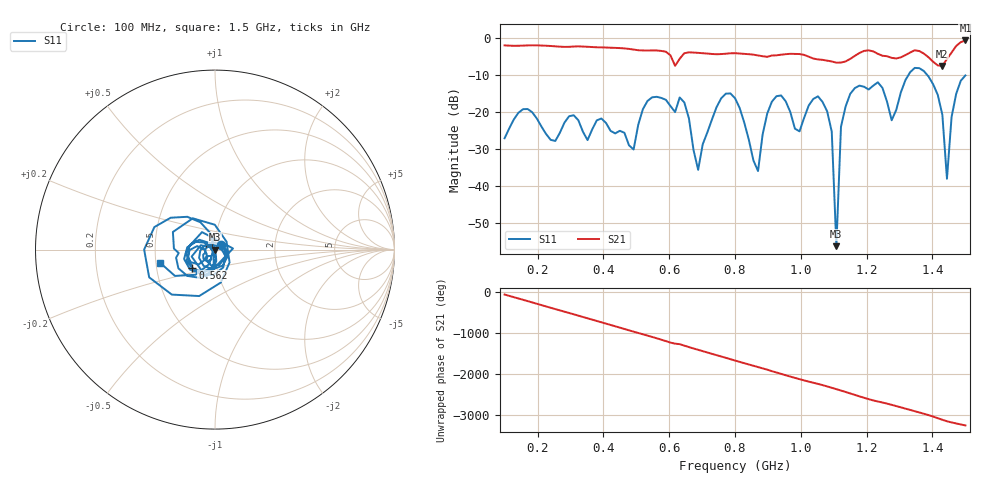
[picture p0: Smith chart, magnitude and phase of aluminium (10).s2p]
! NanoVNA-App
! Date: 2025-09-25 14:55:21
! Start: 100MHz Stop: 1,5GHz Points: 101
! S-Parameter data: F S11 S21 S12 S22
# Hz S RI R 50
!  Frequency  S11_Real  S11_Imag  S21_Real  S21_Imag  S12_Real  S12_Imag  S22_Real  S22_Imag
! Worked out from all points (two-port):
!   101 points, 100 MHz to 1.5 GHz, reference 50 ohm
!   highest |S21| = -0.59 dB at 1.5 GHz (marker M1); lowest = -7.4 dB at 1.43 GHz (marker M2)
!   |S21| within 3 dB of the highest: start of sweep to 587.4 MHz; 1.188 GHz to 1.221 GHz (33.25 MHz wide, 2.76 % of centre) (the widest 2 of 4)
!   lowest |S11| = -56.2 dB at 1.108 GHz (marker M3), VSWR 1.00, Z = 50.2 + j0.022 ohm
!   |S11| at or under -10 dB: start of sweep to 1.326 GHz; 1.385 GHz to end of sweep
!   S12 and S22 are empty: the file has one direction only
!   S11 on the Smith chart (normalised r, x): 100 MHz: 1.07, +0.06; 562 MHz: 0.76, -0.16; 1.5 GHz: 0.53, -0.09
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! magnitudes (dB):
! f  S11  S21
! 100 MHz  -27.0  -1.9
! 338 MHz  -25.3  -2.2
! 492 MHz  -30.0  -3.1
! 562 MHz  -15.8  -3.3
! 576 MHz  -16.1  -3.4
! 646 MHz  -17.3  -4.0
! 688 MHz  -35.6  -3.9
! 800 MHz  -16.2  -4.0
! 870 MHz  -35.9  -4.6
! 912 MHz  -17.1  -4.7
! 996 MHz  -25.2  -4.3
! 1.038 GHz  -16.4  -5.5
! 1.094 GHz  -25.3  -6.3
! 1.108 GHz  -56.2  -6.6
! 1.122 GHz  -23.9  -6.6
! 1.15 GHz  -15.0  -5.6
! 1.276 GHz  -22.2  -5.3
! 1.346 GHz  -8.0  -3.2
! 1.43 GHz  -20.7  -7.4
! 1.444 GHz  -38.0  -5.6
! 1.458 GHz  -21.3  -3.9
! 1.5 GHz  -10.0  -0.6
